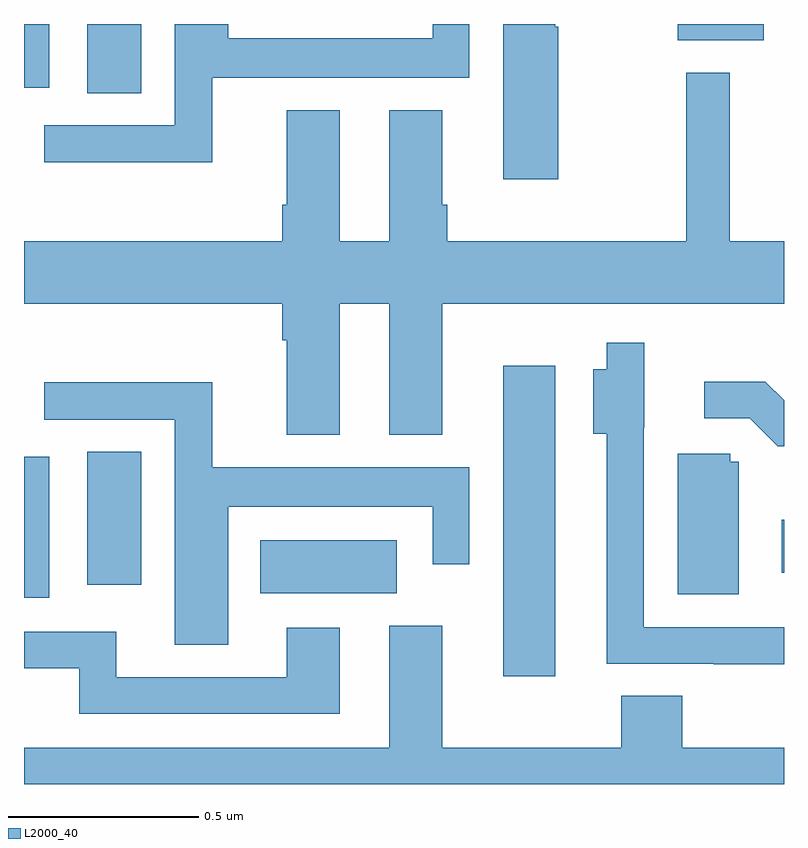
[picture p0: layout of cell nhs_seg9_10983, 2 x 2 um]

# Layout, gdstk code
import gdstk
lib = gdstk.Library(unit=1e-6, precision=1e-09)
def R(c, l, rs):  # rectangles x0, y0, x1, y1
    for r in rs: c.add(gdstk.rectangle(r[:2], r[2:], *l))
def P(c, l, *ps):  # polygons
    for p in ps: c.add(gdstk.Polygon(p, *l))
L2000_40 = (2000, 40)

nhs_seg9_10983 = lib.new_cell('nhs_seg9_10983')
R(nhs_seg9_10983, L2000_40, [(251.261,1184.784,251.398,1185.601), (250,1184.99,250.066,1185.361), (250.622,1185.002,250.981,1185.142), (250.166,1185.024,250.309,1185.374), (251.994,1185.056,252,1185.196), (250.166,1186.318,250.309,1186.5), (250,1186.332,250.066,1186.5), (251.72,1186.457,251.947,1186.5)])
P(nhs_seg9_10983, L2000_40, [(251.406,1186.493),(251.398,1186.493),(251.398,1186.5),(251.261,1186.5),(251.261,1186.092),(251.406,1186.092)],
  [(250.496,1186.358),(251.172,1186.358),(251.172,1186.5),(251.076,1186.5),(251.076,1186.462),(250.537,1186.462),(250.537,1186.5),(250.397,1186.5),(250.397,1186.233),(250.053,1186.233),(250.053,1186.136),(250.496,1186.136)],
  [(250.831,1185.764),(250.961,1185.764),(250.961,1185.419),(251.101,1185.419),(251.101,1185.764),(252,1185.764),(252,1185.928),(251.857,1185.928),(251.857,1186.372),(251.743,1186.372),(251.743,1185.928),(251.114,1185.928),(251.114,1186.024),(251.101,1186.024),(251.101,1186.273),(250.961,1186.273),(250.961,1185.928),(250.831,1185.928),(250.831,1186.273),(250.691,1186.273),(250.691,1186.024),(250.679,1186.024),(250.679,1185.928),(250,1185.928),(250,1185.764),(250.679,1185.764),(250.679,1185.668),(250.691,1185.668),(250.691,1185.419),(250.831,1185.419)],
  [(252,1184.913),(251.631,1184.913),(251.631,1185.438),(251.632,1185.438),(251.632,1185.661),(251.534,1185.661),(251.534,1185.592),(251.498,1185.592),(251.498,1185.422),(251.534,1185.422),(251.534,1184.817),(251.815,1184.817),(251.815,1184.815),(252,1184.815)],
  [(252,1185.51),(251.951,1185.559),(251.79,1185.559),(251.79,1185.462),(251.91,1185.462),(251.983,1185.389),(252,1185.389)],
  [(250.537,1185.23),(251.076,1185.23),(251.076,1185.078),(251.172,1185.078),(251.172,1185.334),(250.496,1185.334),(250.496,1185.557),(250.053,1185.557),(250.053,1185.459),(250.397,1185.459),(250.397,1184.866),(250.537,1184.866)],
  [(251.881,1185.348),(251.859,1185.348),(251.859,1185.369),(251.72,1185.369),(251.72,1185),(251.881,1185)],
  [(252,1184.596),(251.732,1184.596),(251.732,1184.732),(251.572,1184.732),(251.572,1184.596),(251.101,1184.596),(251.101,1184.917),(250.961,1184.917),(250.961,1184.596),(250,1184.596),(250,1184.5),(252,1184.5)],
  [(250.831,1184.911),(250.691,1184.911),(250.691,1184.781),(250.243,1184.781),(250.243,1184.901),(250,1184.901),(250,1184.805),(250.145,1184.805),(250.145,1184.685),(250.831,1184.685)])

lib.write_gds('nhs_seg9_10983.gds')
